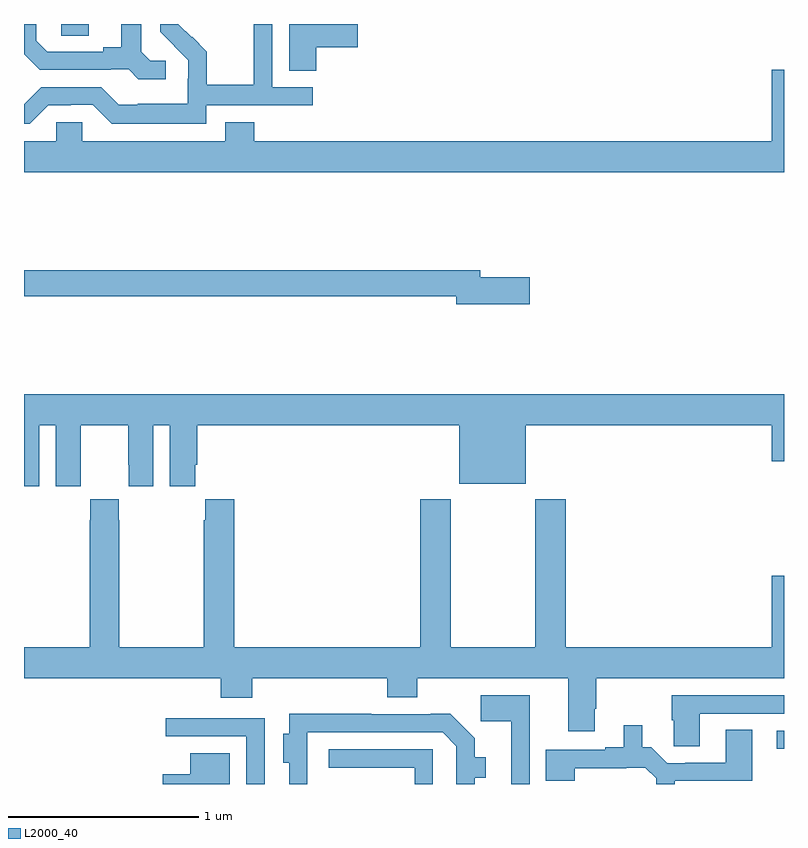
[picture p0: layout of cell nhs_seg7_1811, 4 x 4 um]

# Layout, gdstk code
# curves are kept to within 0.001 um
import gdstk
lib = gdstk.Library(unit=1e-6, precision=1e-09)
def R(c, l, rs):  # rectangles x0, y0, x1, y1
    for r in rs: c.add(gdstk.rectangle(r[:2], r[2:], *l))
def P(c, l, *ps):  # polygons
    for p in ps: c.add(gdstk.Polygon(p, *l))
L2000_40 = (2000, 40)

nhs_seg7_1811 = lib.new_cell('nhs_seg7_1811')
R(nhs_seg7_1811, L2000_40, [(236.961,1060.185,237,1060.281), (233.196,1063.939,233.341,1064)])
P(nhs_seg7_1811, L2000_40, [(233.958,1063.572),(234.52,1063.572),(234.52,1063.668),(234.306,1063.668),(234.306,1064),(234.21,1064),(234.21,1063.904),(234.208,1063.904),(234.208,1063.681),(233.963,1063.681),(233.963,1063.855),(233.886,1063.932),(233.883,1063.929),(233.813,1064),(233.718,1064),(233.718,1063.958),(233.864,1063.81),(233.864,1063.713),(233.862,1063.713),(233.862,1063.579),(233.599,1063.579),(233.599,1063.575),(233.499,1063.575),(233.406,1063.668),(233.091,1063.668),(233,1063.577),(233,1063.476),(233.031,1063.476),(233.127,1063.572),(233.246,1063.572),(233.246,1063.575),(233.361,1063.575),(233.461,1063.475),(233.958,1063.475)],
  [(234.539,1063.877),(234.757,1063.877),(234.757,1064),(234.395,1064),(234.395,1063.753),(234.539,1063.753)],
  [(233.746,1063.806),(233.664,1063.806),(233.617,1063.853),(233.617,1064),(233.513,1064),(233.513,1063.877),(233.417,1063.877),(233.417,1063.854),(233.122,1063.854),(233.065,1063.911),(233.065,1064),(233,1064),(233,1063.842),(233.084,1063.758),(233.456,1063.758),(233.456,1063.761),(233.55,1063.761),(233.602,1063.709),(233.746,1063.709)],
  [(237,1063.759),(236.936,1063.759),(236.936,1063.384),(234.212,1063.384),(234.212,1063.483),(234.059,1063.483),(234.059,1063.384),(233.307,1063.384),(233.307,1063.482),(233.169,1063.482),(233.169,1063.384),(233,1063.384),(233,1063.22),(237,1063.22)],
  [(235.663,1062.668),(235.402,1062.668),(235.402,1062.704),(233,1062.704),(233,1062.568),(235.274,1062.568),(235.274,1062.526),(235.663,1062.526)],
  [(233,1061.568),(233.08,1061.568),(233.08,1061.888),(233.168,1061.888),(233.168,1061.568),(233.298,1061.568),(233.298,1061.68),(233.299,1061.68),(233.299,1061.888),(233.549,1061.888),(233.549,1061.68),(233.55,1061.68),(233.55,1061.568),(233.68,1061.568),(233.68,1061.888),(233.768,1061.888),(233.768,1061.568),(233.902,1061.568),(233.902,1061.68),(233.912,1061.68),(233.912,1061.888),(235.292,1061.888),(235.292,1061.579),(235.642,1061.579),(235.642,1061.888),(236.936,1061.888),(236.936,1061.7),(237,1061.7),(237,1062.052),(233,1062.052)],
  [(236.005,1060.396),(236.013,1060.396),(236.013,1060.556),(237,1060.556),(237,1061.095),(236.936,1061.095),(236.936,1060.72),(235.85,1060.72),(235.85,1061.5),(235.69,1061.5),(235.69,1060.72),(235.245,1060.72),(235.245,1061.5),(235.085,1061.5),(235.085,1060.72),(234.107,1060.72),(234.107,1061.5),(233.953,1061.5),(233.953,1061.387),(233.947,1061.387),(233.947,1060.72),(233.502,1060.72),(233.502,1061.387),(233.499,1061.387),(233.499,1061.5),(233.349,1061.5),(233.349,1061.387),(233.347,1061.387),(233.347,1060.72),(233,1060.72),(233,1060.556),(234.035,1060.556),(234.035,1060.454),(234.2,1060.454),(234.2,1060.556),(234.911,1060.556),(234.911,1060.457),(235.071,1060.457),(235.071,1060.556),(235.865,1060.556),(235.865,1060.278),(236.005,1060.278)],
  [(235.662,1060.468),(235.404,1060.468),(235.404,1060.329),(235.565,1060.329),(235.565,1060),(235.662,1060)],
  [(236.557,1060.371),(237,1060.371),(237,1060.467),(236.41,1060.467),(236.41,1060.335),(236.419,1060.335),(236.419,1060.198),(236.557,1060.198)],
  [(234.492,1060.272),(235.203,1060.272),(235.275,1060.2),(235.275,1060),(235.372,1060),(235.372,1060.032),(235.429,1060.032),(235.429,1060.142),(235.373,1060.142),(235.373,1060.24),(235.243,1060.37),(235.142,1060.37),(235.142,1060.368),(234.827,1060.368),(234.827,1060.37),(234.396,1060.37),(234.396,1060.264),(234.365,1060.264),(234.365,1060.112),(234.396,1060.112),(234.396,1060),(234.492,1060)],
  [(234.267,1060.347),(233.745,1060.347),(233.745,1060.251),(234.171,1060.251),(234.171,1060),(234.267,1060)],
  [(236.424,1060.017),(236.833,1060.017),(236.833,1060.286),(236.693,1060.286),(236.693,1060.113),(236.479,1060.113),(236.479,1060.11),(236.385,1060.11),(236.301,1060.194),(236.254,1060.194),(236.254,1060.309),(236.156,1060.309),(236.156,1060.194),(236.06,1060.194),(236.06,1060.179),(235.747,1060.179),(235.747,1060.018),(235.899,1060.018),(235.899,1060.083),(236.171,1060.083),(236.171,1060.086),(236.271,1060.086),(236.328,1060.029),(236.328,1060),(236.424,1060)],
  [(235.152,1060.182),(234.603,1060.182),(234.603,1060.086),(235.056,1060.086),(235.056,1060),(235.152,1060)],
  [(234.082,1060.162),(233.876,1060.162),(233.876,1060.051),(233.73,1060.051),(233.73,1060),(234.082,1060)])

lib.write_gds('nhs_seg7_1811.gds')
